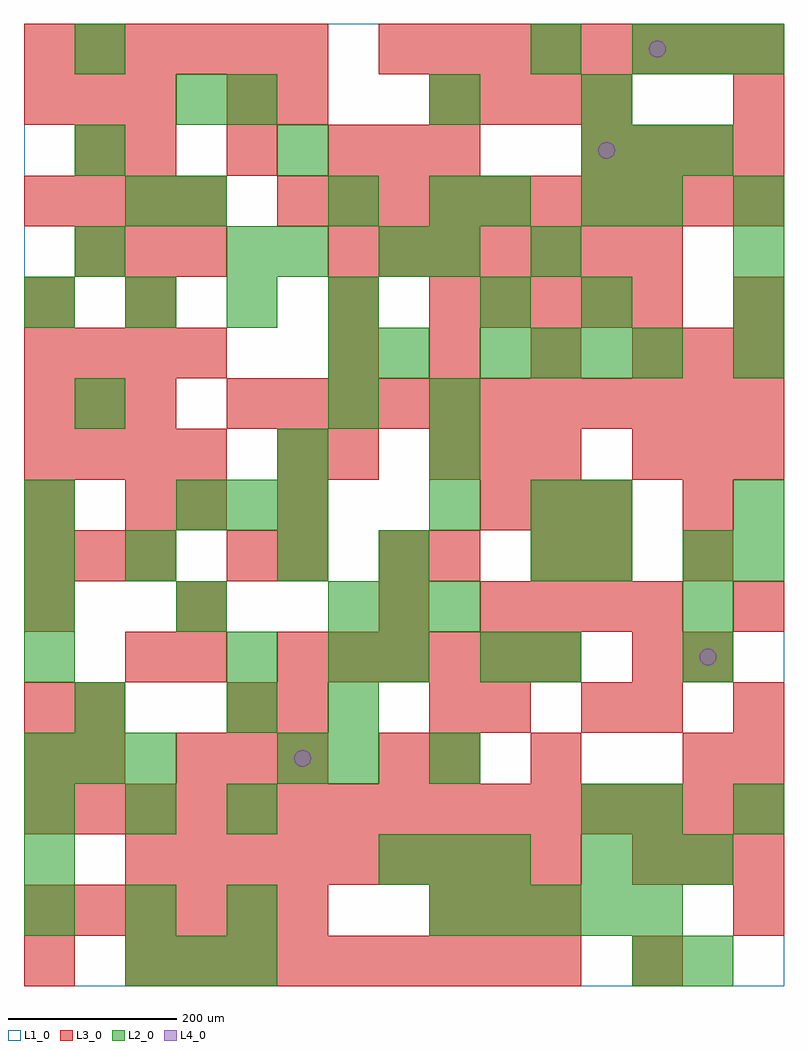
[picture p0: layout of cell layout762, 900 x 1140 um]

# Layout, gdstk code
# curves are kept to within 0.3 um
import gdstk
lib = gdstk.Library(unit=1e-6, precision=1e-09)
def R(c, l, rs):  # rectangles x0, y0, x1, y1
    for r in rs: c.add(gdstk.rectangle(r[:2], r[2:], *l))
def A(c, l, x, y, w, h, nx, ny, dx, dy):  # array of equal rectangles
    R(c, l, [(x+i*dx, y+j*dy, x+i*dx+w, y+j*dy+h) for i in range(nx) for j in range(ny)])
def P(c, l, *ps):  # polygons
    for p in ps: c.add(gdstk.Polygon(p, *l))
L1_0 = (1, 0)
L2_0 = (2, 0)
L3_0 = (3, 0)
L4_0 = (4, 0)

layout762 = lib.new_cell('layout762')
R(layout762, L1_0, [(0,0,900,1140)])
A(layout762, L2_0, 120, 0, 60, 60, 3, 1, 60, 0)
A(layout762, L2_0, 0, 60, 60, 60, 3, 2, 120, 120)
A(layout762, L2_0, 480, 60, 60, 60, 5, 1, 60, 0)
A(layout762, L2_0, 420, 120, 60, 60, 3, 1, 60, 0)
A(layout762, L2_0, 660, 120, 60, 60, 3, 2, 60, 840)
A(layout762, L2_0, 0, 240, 60, 60, 3, 1, 60, 0)
A(layout762, L2_0, 360, 240, 60, 60, 1, 3, 0, 60)
A(layout762, L2_0, 420, 360, 60, 60, 1, 3, 0, 60)
A(layout762, L2_0, 780, 360, 60, 60, 1, 3, 0, 60)
A(layout762, L2_0, 0, 420, 60, 60, 3, 1, 180, 0)
A(layout762, L2_0, 180, 540, 60, 60, 3, 1, 60, 0)
A(layout762, L2_0, 480, 540, 60, 60, 1, 3, 0, 60)
A(layout762, L2_0, 540, 720, 60, 60, 4, 1, 60, 0)
A(layout762, L2_0, 840, 720, 60, 60, 1, 4, 0, 60)
A(layout762, L2_0, 0, 780, 60, 60, 4, 1, 120, 0)
A(layout762, L2_0, 660, 780, 60, 60, 1, 3, 0, 120)
A(layout762, L2_0, 60, 840, 60, 60, 1, 3, 0, 120)
A(layout762, L2_0, 720, 1080, 60, 60, 3, 1, 60, 0)
R(layout762, L2_0, [(720,0,780,60), (780,0,840,60), (0,120,60,180), (660,180,720,240), (720,180,780,240), (840,180,900,240), (300,240,360,300), (480,240,540,300), (60,300,120,360), (240,300,300,360), (0,360,60,420), (240,360,300,420), (540,360,600,420), (600,360,660,420), (480,420,540,480), (0,480,60,540), (120,480,180,540), (300,480,360,540), (600,480,660,540), (660,480,720,540), (840,480,900,540), (0,540,60,600), (600,540,660,600), (660,540,720,600), (840,540,900,600), (300,600,360,660), (60,660,120,720), (360,660,420,720), (360,720,420,780), (420,720,480,780), (540,780,600,840), (240,840,300,900), (300,840,360,900), (420,840,480,900), (480,840,540,900), (600,840,660,900), (120,900,180,960), (180,900,240,960), (360,900,420,960), (480,900,540,960), (540,900,600,960), (720,900,780,960), (300,960,360,1020), (180,1020,240,1080), (240,1020,300,1080), (480,1020,540,1080), (600,1080,660,1140)])
A(layout762, L3_0, 120, 0, 60, 60, 9, 2, 60, 120)
A(layout762, L3_0, 0, 60, 60, 60, 6, 2, 60, 1020)
A(layout762, L3_0, 480, 60, 60, 60, 3, 2, 60, 540)
A(layout762, L3_0, 720, 120, 60, 60, 3, 2, 60, 480)
A(layout762, L3_0, 0, 180, 60, 60, 15, 1, 60, 0)
A(layout762, L3_0, 180, 240, 60, 60, 3, 1, 60, 0)
A(layout762, L3_0, 780, 240, 60, 60, 1, 3, 0, 120)
A(layout762, L3_0, 0, 300, 60, 60, 1, 3, 0, 120)
A(layout762, L3_0, 300, 360, 60, 60, 6, 1, 60, 0)
A(layout762, L3_0, 540, 420, 60, 60, 4, 1, 60, 0)
A(layout762, L3_0, 0, 480, 60, 60, 3, 2, 60, 180)
A(layout762, L3_0, 300, 480, 60, 60, 1, 3, 0, 60)
A(layout762, L3_0, 540, 540, 60, 60, 3, 1, 60, 0)
A(layout762, L3_0, 0, 600, 60, 60, 4, 2, 60, 120)
A(layout762, L3_0, 240, 660, 60, 60, 11, 1, 60, 0)
A(layout762, L3_0, 360, 720, 60, 60, 4, 1, 120, 0)
A(layout762, L3_0, 480, 780, 60, 60, 5, 1, 60, 0)
A(layout762, L3_0, 60, 840, 60, 60, 3, 1, 60, 0)
A(layout762, L3_0, 360, 840, 60, 60, 7, 1, 60, 0)
A(layout762, L3_0, 0, 900, 60, 60, 4, 1, 60, 0)
A(layout762, L3_0, 300, 900, 60, 60, 10, 1, 60, 0)
A(layout762, L3_0, 120, 960, 60, 60, 3, 1, 120, 0)
A(layout762, L3_0, 660, 960, 60, 60, 4, 1, 60, 0)
A(layout762, L3_0, 0, 1020, 60, 60, 3, 1, 60, 0)
A(layout762, L3_0, 480, 1020, 60, 60, 4, 1, 60, 0)
A(layout762, L3_0, 420, 1080, 60, 60, 8, 1, 60, 0)
R(layout762, L3_0, [(0,0,60,60), (720,0,780,60), (840,60,900,120), (0,240,60,300), (60,240,120,300), (420,240,480,300), (480,240,540,300), (600,240,660,300), (840,240,900,300), (60,300,120,360), (240,300,300,360), (300,300,360,360), (480,300,540,360), (540,300,600,360), (660,300,720,360), (720,300,780,360), (840,300,900,360), (120,360,180,420), (180,360,240,420), (720,360,780,420), (180,420,240,480), (420,420,480,480), (840,420,900,480), (240,480,300,540), (420,480,480,540), (480,480,540,540), (600,480,660,540), (660,480,720,540), (120,540,180,600), (180,540,240,600), (780,540,840,600), (360,600,420,660), (780,720,840,780), (840,720,900,780), (0,780,60,840), (120,780,180,840), (360,780,420,840), (840,780,900,840), (60,960,120,1020), (420,960,480,1020), (480,960,540,1020), (240,1020,300,1080), (300,1020,360,1080), (840,1020,900,1080)])
P(layout762, L4_0, [(340,270),(339.239,273.827),(337.071,277.071),(333.827,279.239),(330,280),(326.173,279.239),(322.929,277.071),(320.761,273.827),(320,270),(320.761,266.173),(322.929,262.929),(326.173,260.761),(330,260),(333.827,260.761),(337.071,262.929),(339.239,266.173)],
  [(700,990),(699.239,993.827),(697.071,997.071),(693.827,999.239),(690,1000),(686.173,999.239),(682.929,997.071),(680.761,993.827),(680,990),(680.761,986.173),(682.929,982.929),(686.173,980.761),(690,980),(693.827,980.761),(697.071,982.929),(699.239,986.173)],
  [(760,1110),(759.239,1113.827),(757.071,1117.071),(753.827,1119.239),(750,1120),(746.173,1119.239),(742.929,1117.071),(740.761,1113.827),(740,1110),(740.761,1106.173),(742.929,1102.929),(746.173,1100.761),(750,1100),(753.827,1100.761),(757.071,1102.929),(759.239,1106.173)],
  [(820,390),(819.239,393.827),(817.071,397.071),(813.827,399.239),(810,400),(806.173,399.239),(802.929,397.071),(800.761,393.827),(800,390),(800.761,386.173),(802.929,382.929),(806.173,380.761),(810,380),(813.827,380.761),(817.071,382.929),(819.239,386.173)])

lib.write_gds('layout762.gds')
